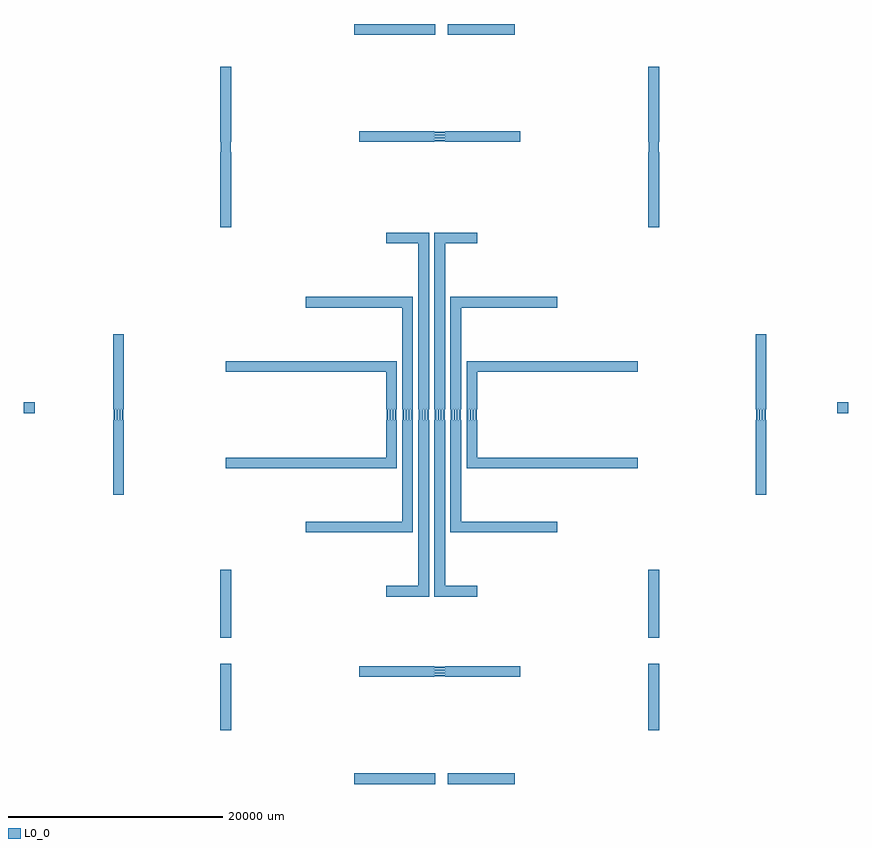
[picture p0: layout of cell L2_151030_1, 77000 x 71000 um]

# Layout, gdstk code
import gdstk
lib = gdstk.Library(unit=1e-6, precision=1e-09)
def R(c, l, rs):  # rectangles x0, y0, x1, y1
    for r in rs: c.add(gdstk.rectangle(r[:2], r[2:], *l))
def P(c, l, *ps):  # polygons
    for p in ps: c.add(gdstk.Polygon(p, *l))
L0_0 = (0, 0)

l2_151030_1 = lib.new_cell('L2_151030_1')
R(l2_151030_1, L0_0, [(1260,-35000,7500,-34000), (-20000,-30000,-19000,-23760), (20000,-30000,21000,-23760), (20000,-21360,21000,-15000), (-7500,35000,60,36000), (1260,35000,7500,36000)])
P(l2_151030_1, L0_0, [(37650,-350),(37950,-350),(37950,94),(37955,94),(37955,102.4),(37960,102.4),(37960,110.8),(37965,110.8),(37965,119.2),(37970,119.2),(37970,127.6),(37975,127.6),(37975,136),(38000,136),(38000,132),(37975,132),(37975,127.6),(38000,127.6),(38000,123.6),(37970,123.6),(37970,119.2),(38000,119.2),(38000,115.2),(37965,115.2),(37965,110.8),(38000,110.8),(38000,106.8),(37960,106.8),(37960,102.4),(38000,102.4),(38000,98.4),(37955,98.4),(37955,94),(38000,94),(38000,90),(37950,90),(37950,-350),(37955,-350),(37955,85.6),(38000,85.6),(38000,81.6),(37955,81.6),(37955,-350),(37960,-350),(37960,77.2),(38000,77.2),(38000,73.2),(37960,73.2),(37960,-350),(37965,-350),(37965,68.8),(38000,68.8),(38000,64.8),(37965,64.8),(37965,-350),(37970,-350),(37970,60.4),(38000,60.4),(38000,56.4),(37970,56.4),(37970,-350),(37975,-350),(37975,52),(38000,52),(38000,48),(37975,48),(37975,-350),(38048,-350),(38048,0),(38052,0),(38052,-25),(38048,-25),(38048,-350),(38056.4,-350),(38056.4,0),(38060.4,0),(38060.4,-30),(38056.4,-30),(38056.4,-350),(38064.8,-350),(38064.8,0),(38068.8,0),(38068.8,-35),(38064.8,-35),(38064.8,-350),(38073.2,-350),(38073.2,0),(38077.2,0),(38077.2,-40),(38073.2,-40),(38073.2,-350),(38081.6,-350),(38081.6,0),(38085.6,0),(38085.6,-45),(38081.6,-45),(38081.6,-350),(38090,-350),(38090,0),(38094,0),(38094,-50),(38090,-50),(38090,-350),(38098.4,-350),(38098.4,0),(38102.4,0),(38102.4,-45),(38098.4,-45),(38098.4,-350),(38106.8,-350),(38106.8,0),(38110.8,0),(38110.8,-40),(38106.8,-40),(38106.8,-350),(38115.2,-350),(38115.2,0),(38119.2,0),(38119.2,-35),(38115.2,-35),(38115.2,-350),(38123.6,-350),(38123.6,0),(38127.6,0),(38127.6,-30),(38123.6,-30),(38123.6,-350),(38132,-350),(38132,0),(38136,0),(38136,-25),(38132,-25),(38132,-350),(38145,-350),(38145,145),(38104.5,145),(38104.5,155),(38145,155),(38145,195.5),(38155,195.5),(38155,155),(38195.5,155),(38195.5,145),(38155,145),(38155,104.5),(38145,104.5),(38145,-350),(38650,-350),(38650,650),(37650,650)],
  [(30000,-8000),(30145,-8000),(30145,0),(30355,0),(30355,-1000),(30315,-1000),(30315,-19),(30295,-19),(30295,-1000),(30205,-1000),(30205,-19),(30185,-19),(30185,-1000),(30145,-1000),(30145,-8000),(30395,-8000),(30395,0),(30605,0),(30605,-1000),(30565,-1000),(30565,-19),(30545,-19),(30545,-1000),(30455,-1000),(30455,-19),(30435,-19),(30435,-1000),(30395,-1000),(30395,-8000),(30645,-8000),(30645,0),(30855,0),(30855,-1000),(30815,-1000),(30815,-19),(30795,-19),(30795,-1000),(30705,-1000),(30705,-19),(30685,-19),(30685,-1000),(30645,-1000),(30645,-8000),(31000,-8000),(31000,-1000),(30955,-1000),(30955,-19),(30935,-19),(30935,-1000),(30895,-1000),(30895,0),(31000,0),(31000,7000),(30000,7000),(30000,0),(30105,0),(30105,-1000),(30065,-1000),(30065,-19),(30045,-19),(30045,-1000),(30000,-1000)],
  [(20000,17000),(20120,17000),(20120,25000),(20280,25000),(20280,24000),(20240,24000),(20240,24981),(20220,24981),(20220,24000),(20180,24000),(20180,24981),(20160,24981),(20160,24000),(20120,24000),(20120,17000),(20320,17000),(20320,25000),(20480,25000),(20480,24000),(20440,24000),(20440,24981),(20420,24981),(20420,24000),(20380,24000),(20380,24981),(20360,24981),(20360,24000),(20320,24000),(20320,17000),(20520,17000),(20520,25000),(20680,25000),(20680,24000),(20640,24000),(20640,24981),(20620,24981),(20620,24000),(20580,24000),(20580,24981),(20560,24981),(20560,24000),(20520,24000),(20520,17000),(20720,17000),(20720,25000),(20880,25000),(20880,24000),(20840,24000),(20840,24981),(20820,24981),(20820,24000),(20780,24000),(20780,24981),(20760,24981),(20760,24000),(20720,24000),(20720,17000),(21000,17000),(21000,24000),(20980,24000),(20980,24981),(20960,24981),(20960,24000),(20920,24000),(20920,25000),(21000,25000),(21000,32000),(20000,32000),(20000,25000),(20080,25000),(20080,24000),(20040,24000),(20040,24981),(20020,24981),(20020,24000),(20000,24000)],
  [(3000,-5500),(3145,-5500),(3145,0),(3355,0),(3355,-1000),(3315,-1000),(3315,-19),(3295,-19),(3295,-1000),(3205,-1000),(3205,-19),(3185,-19),(3185,-1000),(3145,-1000),(3145,-5500),(3395,-5500),(3395,0),(3605,0),(3605,-1000),(3565,-1000),(3565,-19),(3545,-19),(3545,-1000),(3455,-1000),(3455,-19),(3435,-19),(3435,-1000),(3395,-1000),(3395,-5500),(3645,-5500),(3645,0),(3855,0),(3855,-1000),(3815,-1000),(3815,-19),(3795,-19),(3795,-1000),(3705,-1000),(3705,-19),(3685,-19),(3685,-1000),(3645,-1000),(3645,-5500),(19000,-5500),(19000,-4500),(4000,-4500),(4000,-1000),(3955,-1000),(3955,-19),(3935,-19),(3935,-1000),(3895,-1000),(3895,0),(4000,0),(4000,3500),(19000,3500),(19000,4500),(3000,4500),(3000,0),(3105,0),(3105,-1000),(3065,-1000),(3065,-19),(3045,-19),(3045,-1000),(3000,-1000)],
  [(1499,-11501),(1645,-11501),(1645,0),(1855,0),(1855,-1000),(1815,-1000),(1815,-19),(1795,-19),(1795,-1000),(1705,-1000),(1705,-19),(1685,-19),(1685,-1000),(1645,-1000),(1645,-11501),(1895,-11501),(1895,0),(2105,0),(2105,-1000),(2065,-1000),(2065,-19),(2045,-19),(2045,-1000),(1955,-1000),(1955,-19),(1935,-19),(1935,-1000),(1895,-1000),(1895,-11501),(2145,-11501),(2145,0),(2355,0),(2355,-1000),(2315,-1000),(2315,-19),(2295,-19),(2295,-1000),(2205,-1000),(2205,-19),(2185,-19),(2185,-1000),(2145,-1000),(2145,-11501),(11498,-11501),(11498,-10501),(2499,-10501),(2499,-4500),(2500,-4500),(2500,-1000),(2455,-1000),(2455,-19),(2435,-19),(2435,-1000),(2395,-1000),(2395,0),(2500,0),(2500,3500),(2499,3500),(2499,9501),(11498,9501),(11498,10501),(1499,10501),(1499,3500),(1500,3500),(1500,0),(1605,0),(1605,-1000),(1565,-1000),(1565,-19),(1545,-19),(1545,-1000),(1500,-1000),(1500,-4500),(1499,-4500)],
  [(-2,-17502),(145,-17502),(145,0),(355,0),(355,-1000),(315,-1000),(315,-19),(295,-19),(295,-1000),(205,-1000),(205,-19),(185,-19),(185,-1000),(145,-1000),(145,-17502),(395,-17502),(395,0),(605,0),(605,-1000),(565,-1000),(565,-19),(545,-19),(545,-1000),(455,-1000),(455,-19),(435,-19),(435,-1000),(395,-1000),(395,-17502),(645,-17502),(645,0),(855,0),(855,-1000),(815,-1000),(815,-19),(795,-19),(795,-1000),(705,-1000),(705,-19),(685,-19),(685,-1000),(645,-1000),(645,-17502),(3996,-17502),(3996,-16502),(998,-16502),(998,-4500),(1000,-4500),(1000,-1000),(955,-1000),(955,-19),(935,-19),(935,-1000),(895,-1000),(895,0),(1000,0),(1000,3500),(998,3500),(998,15502),(3996,15502),(3996,16502),(-2,16502),(-2,3500),(0,3500),(0,0),(105,0),(105,-1000),(65,-1000),(65,-19),(45,-19),(45,-1000),(0,-1000),(0,-4500),(-2,-4500)],
  [(-4496,-17502),(-1355,-17502),(-1355,0),(-1145,0),(-1145,-1000),(-1185,-1000),(-1185,-19),(-1205,-19),(-1205,-1000),(-1295,-1000),(-1295,-19),(-1315,-19),(-1315,-1000),(-1355,-1000),(-1355,-17502),(-1105,-17502),(-1105,0),(-895,0),(-895,-1000),(-935,-1000),(-935,-19),(-955,-19),(-955,-1000),(-1045,-1000),(-1045,-19),(-1065,-19),(-1065,-1000),(-1105,-1000),(-1105,-17502),(-855,-17502),(-855,0),(-645,0),(-645,-1000),(-685,-1000),(-685,-19),(-705,-19),(-705,-1000),(-795,-1000),(-795,-19),(-815,-19),(-815,-1000),(-855,-1000),(-855,-17502),(-498,-17502),(-498,-4500),(-500,-4500),(-500,-1000),(-545,-1000),(-545,-19),(-565,-19),(-565,-1000),(-605,-1000),(-605,0),(-500,0),(-500,3500),(-498,3500),(-498,16502),(-4496,16502),(-4496,15502),(-1498,15502),(-1498,3500),(-1500,3500),(-1500,0),(-1395,0),(-1395,-1000),(-1435,-1000),(-1435,-19),(-1455,-19),(-1455,-1000),(-1500,-1000),(-1500,-4500),(-1498,-4500),(-1498,-16502),(-4496,-16502)],
  [(-7000,25000),(0,25000),(0,25855),(1000,25855),(1000,25815),(19,25815),(19,25795),(1000,25795),(1000,25705),(19,25705),(19,25685),(1000,25685),(1000,25645),(0,25645),(0,25605),(1000,25605),(1000,25565),(19,25565),(19,25545),(1000,25545),(1000,25455),(19,25455),(19,25435),(1000,25435),(1000,25395),(0,25395),(0,25355),(1000,25355),(1000,25315),(19,25315),(19,25295),(1000,25295),(1000,25205),(19,25205),(19,25185),(1000,25185),(1000,25145),(0,25145),(0,25105),(1000,25105),(1000,25065),(19,25065),(19,25045),(1000,25045),(1000,25000),(8000,25000),(8000,26000),(1000,26000),(1000,25955),(19,25955),(19,25935),(1000,25935),(1000,25895),(0,25895),(0,26000),(-7000,26000)],
  [(-7000,-25000),(0,-25000),(0,-24145),(1000,-24145),(1000,-24185),(19,-24185),(19,-24205),(1000,-24205),(1000,-24295),(19,-24295),(19,-24315),(1000,-24315),(1000,-24355),(0,-24355),(0,-24395),(1000,-24395),(1000,-24435),(19,-24435),(19,-24455),(1000,-24455),(1000,-24545),(19,-24545),(19,-24565),(1000,-24565),(1000,-24605),(0,-24605),(0,-24645),(1000,-24645),(1000,-24685),(19,-24685),(19,-24705),(1000,-24705),(1000,-24795),(19,-24795),(19,-24815),(1000,-24815),(1000,-24855),(0,-24855),(0,-24895),(1000,-24895),(1000,-24935),(19,-24935),(19,-24955),(1000,-24955),(1000,-25000),(8000,-25000),(8000,-24000),(1000,-24000),(1000,-24045),(19,-24045),(19,-24065),(1000,-24065),(1000,-24105),(0,-24105),(0,-24000),(-7000,-24000)],
  [(-7500,-35000),(-5050,-35000),(-5050,-34490),(-5000,-34490),(-5000,-34500),(-5050,-34500),(-5050,-35000),(-4950,-35000),(-4950,-34310),(-4900,-34310),(-4900,-34320),(-4950,-34320),(-4950,-34490),(-4900,-34490),(-4900,-34500),(-4950,-34500),(-4950,-34670),(-4900,-34670),(-4900,-34680),(-4950,-34680),(-4950,-35000),(-4850,-35000),(-4850,-34130),(-4800,-34130),(-4800,-34140),(-4850,-34140),(-4850,-34220),(-4800,-34220),(-4800,-34230),(-4850,-34230),(-4850,-34310),(-4800,-34310),(-4800,-34320),(-4850,-34320),(-4850,-34400),(-4800,-34400),(-4800,-34410),(-4850,-34410),(-4850,-34490),(-4800,-34490),(-4800,-34500),(-4850,-34500),(-4850,-34580),(-4800,-34580),(-4800,-34590),(-4850,-34590),(-4850,-34670),(-4800,-34670),(-4800,-34680),(-4850,-34680),(-4850,-34760),(-4800,-34760),(-4800,-34770),(-4850,-34770),(-4850,-34850),(-4800,-34850),(-4800,-34860),(-4850,-34860),(-4850,-35000),(-4750,-35000),(-4750,-34010),(-4700,-34010),(-4700,-34020),(-4750,-34020),(-4750,-34070),(-4700,-34070),(-4700,-34080),(-4750,-34080),(-4750,-34130),(-4700,-34130),(-4700,-34140),(-4750,-34140),(-4750,-34190),(-4700,-34190),(-4700,-34200),(-4750,-34200),(-4750,-34250),(-4700,-34250),(-4700,-34260),(-4750,-34260),(-4750,-34310),(-4700,-34310),(-4700,-34320),(-4750,-34320),(-4750,-34370),(-4700,-34370),(-4700,-34380),(-4750,-34380),(-4750,-34430),(-4700,-34430),(-4700,-34440),(-4750,-34440),(-4750,-34490),(-4700,-34490),(-4700,-34500),(-4750,-34500),(-4750,-34550),(-4700,-34550),(-4700,-34560),(-4750,-34560),(-4750,-34610),(-4700,-34610),(-4700,-34620),(-4750,-34620),(-4750,-34670),(-4700,-34670),(-4700,-34680),(-4750,-34680),(-4750,-34730),(-4700,-34730),(-4700,-34740),(-4750,-34740),(-4750,-34790),(-4700,-34790),(-4700,-34800),(-4750,-34800),(-4750,-34850),(-4700,-34850),(-4700,-34860),(-4750,-34860),(-4750,-34910),(-4700,-34910),(-4700,-34920),(-4750,-34920),(-4750,-34970),(-4700,-34970),(-4700,-34980),(-4750,-34980),(-4750,-35000),(-4650,-35000),(-4650,-34040),(-4600,-34040),(-4600,-34050),(-4650,-34050),(-4650,-34085),(-4600,-34085),(-4600,-34095),(-4650,-34095),(-4650,-34130),(-4600,-34130),(-4600,-34140),(-4650,-34140),(-4650,-34175),(-4600,-34175),(-4600,-34185),(-4650,-34185),(-4650,-34220),(-4600,-34220),(-4600,-34230),(-4650,-34230),(-4650,-34265),(-4600,-34265),(-4600,-34275),(-4650,-34275),(-4650,-34310),(-4600,-34310),(-4600,-34320),(-4650,-34320),(-4650,-34355),(-4600,-34355),(-4600,-34365),(-4650,-34365),(-4650,-34400),(-4600,-34400),(-4600,-34410),(-4650,-34410),(-4650,-34445),(-4600,-34445),(-4600,-34455),(-4650,-34455),(-4650,-34490),(-4600,-34490),(-4600,-34500),(-4650,-34500),(-4650,-34535),(-4600,-34535),(-4600,-34545),(-4650,-34545),(-4650,-34580),(-4600,-34580),(-4600,-34590),(-4650,-34590),(-4650,-34625),(-4600,-34625),(-4600,-34635),(-4650,-34635),(-4650,-34670),(-4600,-34670),(-4600,-34680),(-4650,-34680),(-4650,-34715),(-4600,-34715),(-4600,-34725),(-4650,-34725),(-4650,-34760),(-4600,-34760),(-4600,-34770),(-4650,-34770),(-4650,-34805),(-4600,-34805),(-4600,-34815),(-4650,-34815),(-4650,-34850),(-4600,-34850),(-4600,-34860),(-4650,-34860),(-4650,-34895),(-4600,-34895),(-4600,-34905),(-4650,-34905),(-4650,-34940),(-4600,-34940),(-4600,-34950),(-4650,-34950),(-4650,-34985),(-4600,-34985),(-4600,-34995),(-4650,-34995),(-4650,-35000),(-4550,-35000),(-4550,-34022),(-4500,-34022),(-4500,-34032),(-4550,-34032),(-4550,-34058),(-4500,-34058),(-4500,-34068),(-4550,-34068),(-4550,-34094),(-4500,-34094),(-4500,-34104),(-4550,-34104),(-4550,-34130),(-4500,-34130),(-4500,-34140),(-4550,-34140),(-4550,-34166),(-4500,-34166),(-4500,-34176),(-4550,-34176),(-4550,-34202),(-4500,-34202),(-4500,-34212),(-4550,-34212),(-4550,-34238),(-4500,-34238),(-4500,-34248),(-4550,-34248),(-4550,-34274),(-4500,-34274),(-4500,-34284),(-4550,-34284),(-4550,-34310),(-4500,-34310),(-4500,-34320),(-4550,-34320),(-4550,-34346),(-4500,-34346),(-4500,-34356),(-4550,-34356),(-4550,-34382),(-4500,-34382),(-4500,-34392),(-4550,-34392),(-4550,-34418),(-4500,-34418),(-4500,-34428),(-4550,-34428),(-4550,-34454),(-4500,-34454),(-4500,-34464),(-4550,-34464),(-4550,-34490),(-4500,-34490),(-4500,-34500),(-4550,-34500),(-4550,-34526),(-4500,-34526),(-4500,-34536),(-4550,-34536),(-4550,-34562),(-4500,-34562),(-4500,-34572),(-4550,-34572),(-4550,-34598),(-4500,-34598),(-4500,-34608),(-4550,-34608),(-4550,-34634),(-4500,-34634),(-4500,-34644),(-4550,-34644),(-4550,-34670),(-4500,-34670),(-4500,-34680),(-4550,-34680),(-4550,-34706),(-4500,-34706),(-4500,-34716),(-4550,-34716),(-4550,-34742),(-4500,-34742),(-4500,-34752),(-4550,-34752),(-4550,-34778),(-4500,-34778),(-4500,-34788),(-4550,-34788),(-4550,-34814),(-4500,-34814),(-4500,-34824),(-4550,-34824),(-4550,-34850),(-4500,-34850),(-4500,-34860),(-4550,-34860),(-4550,-34886),(-4500,-34886),(-4500,-34896),(-4550,-34896),(-4550,-34922),(-4500,-34922),(-4500,-34932),(-4550,-34932),(-4550,-34958),(-4500,-34958),(-4500,-34968),(-4550,-34968),(-4550,-34994),(-4500,-34994),(-4500,-35000),(60,-35000),(60,-34000),(-4600,-34000),(-4600,-34005),(-4650,-34005),(-4650,-34000),(-7500,-34000)],
  [(-11998,-11501),(-2855,-11501),(-2855,0),(-2645,0),(-2645,-1000),(-2685,-1000),(-2685,-19),(-2705,-19),(-2705,-1000),(-2795,-1000),(-2795,-19),(-2815,-19),(-2815,-1000),(-2855,-1000),(-2855,-11501),(-2605,-11501),(-2605,0),(-2395,0),(-2395,-1000),(-2435,-1000),(-2435,-19),(-2455,-19),(-2455,-1000),(-2545,-1000),(-2545,-19),(-2565,-19),(-2565,-1000),(-2605,-1000),(-2605,-11501),(-2355,-11501),(-2355,0),(-2145,0),(-2145,-1000),(-2185,-1000),(-2185,-19),(-2205,-19),(-2205,-1000),(-2295,-1000),(-2295,-19),(-2315,-19),(-2315,-1000),(-2355,-1000),(-2355,-11501),(-1999,-11501),(-1999,-4500),(-2000,-4500),(-2000,-1000),(-2045,-1000),(-2045,-19),(-2065,-19),(-2065,-1000),(-2105,-1000),(-2105,0),(-2000,0),(-2000,3500),(-1999,3500),(-1999,10501),(-11998,10501),(-11998,9501),(-2999,9501),(-2999,3500),(-3000,3500),(-3000,0),(-2895,0),(-2895,-1000),(-2935,-1000),(-2935,-19),(-2955,-19),(-2955,-1000),(-3000,-1000),(-3000,-4500),(-2999,-4500),(-2999,-10501),(-11998,-10501)],
  [(-19500,-5500),(-4355,-5500),(-4355,0),(-4145,0),(-4145,-1000),(-4185,-1000),(-4185,-19),(-4205,-19),(-4205,-1000),(-4295,-1000),(-4295,-19),(-4315,-19),(-4315,-1000),(-4355,-1000),(-4355,-5500),(-4105,-5500),(-4105,0),(-3895,0),(-3895,-1000),(-3935,-1000),(-3935,-19),(-3955,-19),(-3955,-1000),(-4045,-1000),(-4045,-19),(-4065,-19),(-4065,-1000),(-4105,-1000),(-4105,-5500),(-3855,-5500),(-3855,0),(-3645,0),(-3645,-1000),(-3685,-1000),(-3685,-19),(-3705,-19),(-3705,-1000),(-3795,-1000),(-3795,-19),(-3815,-19),(-3815,-1000),(-3855,-1000),(-3855,-5500),(-3500,-5500),(-3500,-1000),(-3545,-1000),(-3545,-19),(-3565,-19),(-3565,-1000),(-3605,-1000),(-3605,0),(-3500,0),(-3500,4500),(-19500,4500),(-19500,3500),(-4500,3500),(-4500,0),(-4395,0),(-4395,-1000),(-4435,-1000),(-4435,-19),(-4455,-19),(-4455,-1000),(-4500,-1000),(-4500,-4500),(-19500,-4500)],
  [(-20000,17000),(-19880,17000),(-19880,25000),(-19720,25000),(-19720,24000),(-19760,24000),(-19760,24981),(-19780,24981),(-19780,24000),(-19820,24000),(-19820,24981),(-19840,24981),(-19840,24000),(-19880,24000),(-19880,17000),(-19680,17000),(-19680,25000),(-19520,25000),(-19520,24000),(-19560,24000),(-19560,24981),(-19580,24981),(-19580,24000),(-19620,24000),(-19620,24981),(-19640,24981),(-19640,24000),(-19680,24000),(-19680,17000),(-19480,17000),(-19480,25000),(-19320,25000),(-19320,24000),(-19360,24000),(-19360,24981),(-19380,24981),(-19380,24000),(-19420,24000),(-19420,24981),(-19440,24981),(-19440,24000),(-19480,24000),(-19480,17000),(-19280,17000),(-19280,25000),(-19120,25000),(-19120,24000),(-19160,24000),(-19160,24981),(-19180,24981),(-19180,24000),(-19220,24000),(-19220,24981),(-19240,24981),(-19240,24000),(-19280,24000),(-19280,17000),(-19000,17000),(-19000,24000),(-19020,24000),(-19020,24981),(-19040,24981),(-19040,24000),(-19080,24000),(-19080,25000),(-19000,25000),(-19000,32000),(-20000,32000),(-20000,25000),(-19920,25000),(-19920,24000),(-19960,24000),(-19960,24981),(-19980,24981),(-19980,24000),(-20000,24000)],
  [(-20000,-21360),(-19980,-21360),(-19980,-17750),(-19970,-17750),(-19970,-17800),(-19980,-17800),(-19980,-21360),(-19968,-21360),(-19968,-17950),(-19958,-17950),(-19958,-18000),(-19968,-18000),(-19968,-21360),(-19950,-21360),(-19950,-17850),(-19940,-17850),(-19940,-17900),(-19950,-17900),(-19950,-21360),(-19932,-21360),(-19932,-17950),(-19922,-17950),(-19922,-18000),(-19932,-18000),(-19932,-21360),(-19920,-21360),(-19920,-17750),(-19910,-17750),(-19910,-17800),(-19920,-17800),(-19920,-21360),(-19905,-21360),(-19905,-17850),(-19895,-17850),(-19895,-17900),(-19905,-17900),(-19905,-21360),(-19896,-21360),(-19896,-17950),(-19886,-17950),(-19886,-18000),(-19896,-18000),(-19896,-21360),(-19860,-21360),(-19860,-17650),(-19850,-17650),(-19850,-17700),(-19860,-17700),(-19860,-17750),(-19850,-17750),(-19850,-17800),(-19860,-17800),(-19860,-17850),(-19850,-17850),(-19850,-17900),(-19860,-17900),(-19860,-17950),(-19850,-17950),(-19850,-18000),(-19860,-18000),(-19860,-21360),(-19824,-21360),(-19824,-17950),(-19815,-17950),(-19815,-17850),(-19805,-17850),(-19805,-17900),(-19815,-17900),(-19815,-17950),(-19814,-17950),(-19814,-18000),(-19824,-18000),(-19824,-21360),(-19800,-21360),(-19800,-17750),(-19790,-17750),(-19790,-17800),(-19800,-17800),(-19800,-21360),(-19788,-21360),(-19788,-17950),(-19778,-17950),(-19778,-18000),(-19788,-18000),(-19788,-21360),(-19770,-21360),(-19770,-17650),(-19760,-17650),(-19760,-17700),(-19770,-17700),(-19770,-17850),(-19760,-17850),(-19760,-17900),(-19770,-17900),(-19770,-21360),(-19752,-21360),(-19752,-17950),(-19742,-17950),(-19742,-18000),(-19752,-18000),(-19752,-21360),(-19740,-21360),(-19740,-17750),(-19730,-17750),(-19730,-17800),(-19740,-17800),(-19740,-21360),(-19725,-21360),(-19725,-17850),(-19715,-17850),(-19715,-17900),(-19725,-17900),(-19725,-21360),(-19716,-21360),(-19716,-17950),(-19706,-17950),(-19706,-18000),(-19716,-18000),(-19716,-21360),(-19680,-21360),(-19680,-17550),(-19670,-17550),(-19670,-17600),(-19680,-17600),(-19680,-17650),(-19670,-17650),(-19670,-17700),(-19680,-17700),(-19680,-17750),(-19670,-17750),(-19670,-17800),(-19680,-17800),(-19680,-17850),(-19670,-17850),(-19670,-17900),(-19680,-17900),(-19680,-17950),(-19670,-17950),(-19670,-18000),(-19680,-18000),(-19680,-21360),(-19644,-21360),(-19644,-17950),(-19635,-17950),(-19635,-17850),(-19625,-17850),(-19625,-17900),(-19635,-17900),(-19635,-17950),(-19634,-17950),(-19634,-18000),(-19644,-18000),(-19644,-21360),(-19620,-21360),(-19620,-17750),(-19610,-17750),(-19610,-17800),(-19620,-17800),(-19620,-21360),(-19608,-21360),(-19608,-17950),(-19598,-17950),(-19598,-18000),(-19608,-18000),(-19608,-21360),(-19590,-21360),(-19590,-17650),(-19580,-17650),(-19580,-17700),(-19590,-17700),(-19590,-17850),(-19580,-17850),(-19580,-17900),(-19590,-17900),(-19590,-21360),(-19572,-21360),(-19572,-17950),(-19562,-17950),(-19562,-18000),(-19572,-18000),(-19572,-21360),(-19560,-21360),(-19560,-17750),(-19550,-17750),(-19550,-17800),(-19560,-17800),(-19560,-21360),(-19545,-21360),(-19545,-17850),(-19535,-17850),(-19535,-17900),(-19545,-17900),(-19545,-21360),(-19536,-21360),(-19536,-17950),(-19526,-17950),(-19526,-18000),(-19536,-18000),(-19536,-21360),(-19500,-21360),(-19500,-17450),(-19490,-17450),(-19490,-17500),(-19500,-17500),(-19500,-17550),(-19490,-17550),(-19490,-17600),(-19500,-17600),(-19500,-17650),(-19490,-17650),(-19490,-17700),(-19500,-17700),(-19500,-17750),(-19490,-17750),(-19490,-17800),(-19500,-17800),(-19500,-17850),(-19490,-17850),(-19490,-17900),(-19500,-17900),(-19500,-17950),(-19490,-17950),(-19490,-18000),(-19500,-18000),(-19500,-21360),(-19464,-21360),(-19464,-17950),(-19455,-17950),(-19455,-17850),(-19445,-17850),(-19445,-17900),(-19455,-17900),(-19455,-17950),(-19454,-17950),(-19454,-18000),(-19464,-18000),(-19464,-21360),(-19440,-21360),(-19440,-17750),(-19430,-17750),(-19430,-17800),(-19440,-17800),(-19440,-21360),(-19428,-21360),(-19428,-17950),(-19418,-17950),(-19418,-18000),(-19428,-18000),(-19428,-21360),(-19410,-21360),(-19410,-17650),(-19400,-17650),(-19400,-17700),(-19410,-17700),(-19410,-17850),(-19400,-17850),(-19400,-17900),(-19410,-17900),(-19410,-21360),(-19392,-21360),(-19392,-17950),(-19382,-17950),(-19382,-18000),(-19392,-18000),(-19392,-21360),(-19380,-21360),(-19380,-17750),(-19370,-17750),(-19370,-17800),(-19380,-17800),(-19380,-21360),(-19365,-21360),(-19365,-17850),(-19355,-17850),(-19355,-17900),(-19365,-17900),(-19365,-21360),(-19356,-21360),(-19356,-17950),(-19346,-17950),(-19346,-18000),(-19356,-18000),(-19356,-21360),(-19320,-21360),(-19320,-17550),(-19310,-17550),(-19310,-17600),(-19320,-17600),(-19320,-17650),(-19310,-17650),(-19310,-17700),(-19320,-17700),(-19320,-17750),(-19310,-17750),(-19310,-17800),(-19320,-17800),(-19320,-17850),(-19310,-17850),(-19310,-17900),(-19320,-17900),(-19320,-17950),(-19310,-17950),(-19310,-18000),(-19320,-18000),(-19320,-21360),(-19284,-21360),(-19284,-17950),(-19275,-17950),(-19275,-17850),(-19265,-17850),(-19265,-17900),(-19275,-17900),(-19275,-17950),(-19274,-17950),(-19274,-18000),(-19284,-18000),(-19284,-21360),(-19260,-21360),(-19260,-17750),(-19250,-17750),(-19250,-17800),(-19260,-17800),(-19260,-21360),(-19248,-21360),(-19248,-17950),(-19238,-17950),(-19238,-18000),(-19248,-18000),(-19248,-21360),(-19230,-21360),(-19230,-17650),(-19220,-17650),(-19220,-17700),(-19230,-17700),(-19230,-17850),(-19220,-17850),(-19220,-17900),(-19230,-17900),(-19230,-21360),(-19212,-21360),(-19212,-17950),(-19202,-17950),(-19202,-18000),(-19212,-18000),(-19212,-21360),(-19200,-21360),(-19200,-17750),(-19190,-17750),(-19190,-17800),(-19200,-17800),(-19200,-21360),(-19185,-21360),(-19185,-17850),(-19175,-17850),(-19175,-17900),(-19185,-17900),(-19185,-21360),(-19176,-21360),(-19176,-17950),(-19166,-17950),(-19166,-18000),(-19176,-18000),(-19176,-21360),(-19140,-21360),(-19140,-17650),(-19130,-17650),(-19130,-17700),(-19140,-17700),(-19140,-17750),(-19130,-17750),(-19130,-17800),(-19140,-17800),(-19140,-17850),(-19130,-17850),(-19130,-17900),(-19140,-17900),(-19140,-17950),(-19130,-17950),(-19130,-18000),(-19140,-18000),(-19140,-21360),(-19104,-21360),(-19104,-17950),(-19095,-17950),(-19095,-17850),(-19085,-17850),(-19085,-17900),(-19095,-17900),(-19095,-17950),(-19094,-17950),(-19094,-18000),(-19104,-18000),(-19104,-21360),(-19080,-21360),(-19080,-17750),(-19070,-17750),(-19070,-17800),(-19080,-17800),(-19080,-21360),(-19068,-21360),(-19068,-17950),(-19058,-17950),(-19058,-18000),(-19068,-18000),(-19068,-21360),(-19050,-21360),(-19050,-17850),(-19040,-17850),(-19040,-17900),(-19050,-17900),(-19050,-21360),(-19032,-21360),(-19032,-17950),(-19022,-17950),(-19022,-18000),(-19032,-18000),(-19032,-21360),(-19020,-21360),(-19020,-17750),(-19010,-17750),(-19010,-17800),(-19020,-17800),(-19020,-21360),(-19000,-21360),(-19000,-17900),(-19005,-17900),(-19005,-17850),(-19000,-17850),(-19000,-15000),(-20000,-15000),(-20000,-17950),(-19995,-17950),(-19995,-17850),(-19985,-17850),(-19985,-17900),(-19995,-17900),(-19995,-17950),(-19994,-17950),(-19994,-18000),(-20000,-18000)],
  [(-30000,-8000),(-29855,-8000),(-29855,0),(-29645,0),(-29645,-1000),(-29685,-1000),(-29685,-19),(-29705,-19),(-29705,-1000),(-29795,-1000),(-29795,-19),(-29815,-19),(-29815,-1000),(-29855,-1000),(-29855,-8000),(-29605,-8000),(-29605,0),(-29395,0),(-29395,-1000),(-29435,-1000),(-29435,-19),(-29455,-19),(-29455,-1000),(-29545,-1000),(-29545,-19),(-29565,-19),(-29565,-1000),(-29605,-1000),(-29605,-8000),(-29355,-8000),(-29355,0),(-29145,0),(-29145,-1000),(-29185,-1000),(-29185,-19),(-29205,-19),(-29205,-1000),(-29295,-1000),(-29295,-19),(-29315,-19),(-29315,-1000),(-29355,-1000),(-29355,-8000),(-29000,-8000),(-29000,-1000),(-29045,-1000),(-29045,-19),(-29065,-19),(-29065,-1000),(-29105,-1000),(-29105,0),(-29000,0),(-29000,7000),(-30000,7000),(-30000,0),(-29895,0),(-29895,-1000),(-29935,-1000),(-29935,-19),(-29955,-19),(-29955,-1000),(-30000,-1000)],
  [(-38350,-350),(-38050,-350),(-38050,94),(-38045,94),(-38045,102.4),(-38040,102.4),(-38040,110.8),(-38035,110.8),(-38035,119.2),(-38030,119.2),(-38030,127.6),(-38025,127.6),(-38025,136),(-38000,136),(-38000,132),(-38025,132),(-38025,127.6),(-38000,127.6),(-38000,123.6),(-38030,123.6),(-38030,119.2),(-38000,119.2),(-38000,115.2),(-38035,115.2),(-38035,110.8),(-38000,110.8),(-38000,106.8),(-38040,106.8),(-38040,102.4),(-38000,102.4),(-38000,98.4),(-38045,98.4),(-38045,94),(-38000,94),(-38000,90),(-38050,90),(-38050,-350),(-38045,-350),(-38045,85.6),(-38000,85.6),(-38000,81.6),(-38045,81.6),(-38045,-350),(-38040,-350),(-38040,77.2),(-38000,77.2),(-38000,73.2),(-38040,73.2),(-38040,-350),(-38035,-350),(-38035,68.8),(-38000,68.8),(-38000,64.8),(-38035,64.8),(-38035,-350),(-38030,-350),(-38030,60.4),(-38000,60.4),(-38000,56.4),(-38030,56.4),(-38030,-350),(-38025,-350),(-38025,52),(-38000,52),(-38000,48),(-38025,48),(-38025,-350),(-37952,-350),(-37952,0),(-37948,0),(-37948,-25),(-37952,-25),(-37952,-350),(-37943.6,-350),(-37943.6,0),(-37939.6,0),(-37939.6,-30),(-37943.6,-30),(-37943.6,-350),(-37935.2,-350),(-37935.2,0),(-37931.2,0),(-37931.2,-35),(-37935.2,-35),(-37935.2,-350),(-37926.8,-350),(-37926.8,0),(-37922.8,0),(-37922.8,-40),(-37926.8,-40),(-37926.8,-350),(-37918.4,-350),(-37918.4,0),(-37914.4,0),(-37914.4,-45),(-37918.4,-45),(-37918.4,-350),(-37910,-350),(-37910,0),(-37906,0),(-37906,-50),(-37910,-50),(-37910,-350),(-37901.6,-350),(-37901.6,0),(-37897.6,0),(-37897.6,-45),(-37901.6,-45),(-37901.6,-350),(-37893.2,-350),(-37893.2,0),(-37889.2,0),(-37889.2,-40),(-37893.2,-40),(-37893.2,-350),(-37884.8,-350),(-37884.8,0),(-37880.8,0),(-37880.8,-35),(-37884.8,-35),(-37884.8,-350),(-37876.4,-350),(-37876.4,0),(-37872.4,0),(-37872.4,-30),(-37876.4,-30),(-37876.4,-350),(-37868,-350),(-37868,0),(-37864,0),(-37864,-25),(-37868,-25),(-37868,-350),(-37855,-350),(-37855,145),(-37895.5,145),(-37895.5,155),(-37855,155),(-37855,195.5),(-37845,195.5),(-37845,155),(-37804.5,155),(-37804.5,145),(-37845,145),(-37845,104.5),(-37855,104.5),(-37855,-350),(-37350,-350),(-37350,650),(-38350,650)])

lib.write_gds('L2_151030_1.gds')
